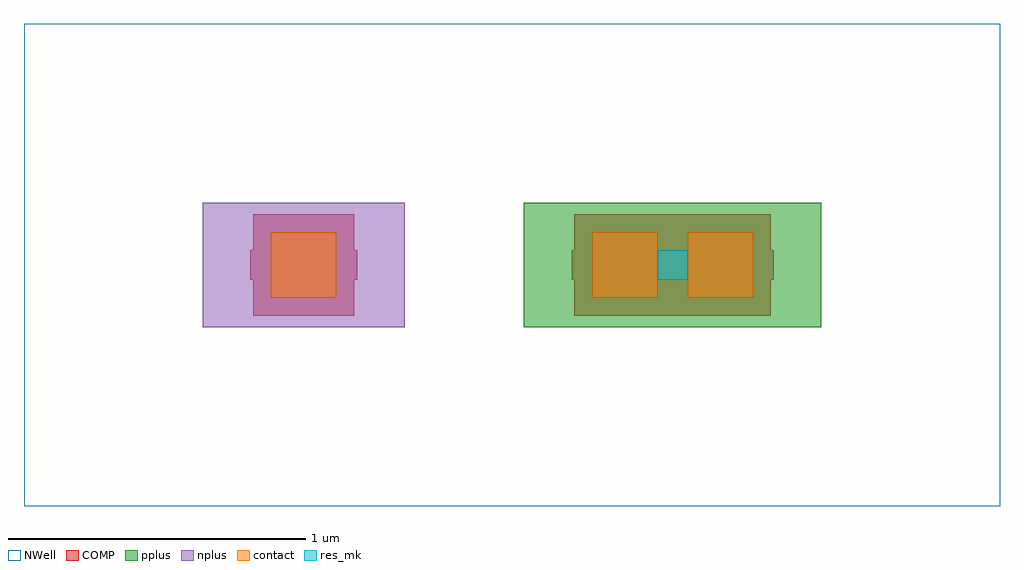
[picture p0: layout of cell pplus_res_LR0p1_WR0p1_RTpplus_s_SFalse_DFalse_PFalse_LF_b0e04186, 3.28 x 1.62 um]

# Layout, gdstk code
import gdstk
lib = gdstk.Library(unit=1e-6, precision=1e-09)
def R(c, l, rs):  # rectangles x0, y0, x1, y1
    for r in rs: c.add(gdstk.rectangle(r[:2], r[2:], *l))
NWell = (21, 0)
COMP = (22, 0)
pplus = (31, 0)
nplus = (32, 0)
contact = (33, 0)
res_mk = (110, 5)

rectangle_gdsfactorypcom = lib.new_cell('rectangle_gdsfactorypcomponentspshapesprectangle_S0p1_0_9a16bc71')
R(rectangle_gdsfactorypcom, res_mk, [(0,0,0.1,0.1)])

c_rectangle_gdsfactorypcom = lib.new_cell('rectangle_gdsfactorypcomponentspshapesprectangle_S0p679_5ee39707')
R(c_rectangle_gdsfactorypcom, COMP, [(0,0,0.68,0.1)])

c_rectangle_gdsfactorypcom_ = lib.new_cell('rectangle_gdsfactorypcomponentspshapesprectangle_S0p22__bfea7709')
R(c_rectangle_gdsfactorypcom_, contact, [(0,0,0.22,0.22)])

via_generator_xrm0p29_0p = lib.new_cell('via_generator_XRm0p29_0p07_YR0_0p1_VS0p22_0p22_VLcontac_2a18fe85')
via_generator_xrm0p29_0p.add(gdstk.Reference(c_rectangle_gdsfactorypcom_, (-0.22,-0.06)))

c_rectangle_gdsfactorypcom__ = lib.new_cell('rectangle_gdsfactorypcomponentspshapesprectangle_S0p339_7cf635e5')
R(c_rectangle_gdsfactorypcom__, COMP, [(0,0,0.34,0.34)])

via_stack_xrm0p29_0p07_y = lib.new_cell('via_stack_XRm0p29_0p07_YR0_0p1_ML1_CS0p22_0p22_CE0p07_M_2166a762')
via_stack_xrm0p29_0p07_y.add(gdstk.Reference(via_generator_xrm0p29_0p, (0,0)))
via_stack_xrm0p29_0p07_y.add(gdstk.Reference(c_rectangle_gdsfactorypcom__, (-0.28,-0.12)))

c_rectangle_gdsfactorypcom___ = lib.new_cell('rectangle_gdsfactorypcomponentspshapesprectangle_S1_0p4_b663a014')
R(c_rectangle_gdsfactorypcom___, pplus, [(0,0,1,0.42)])

c_rectangle_gdsfactorypcom____ = lib.new_cell('rectangle_gdsfactorypcomponentspshapesprectangle_S0p36__b404f8e0')
R(c_rectangle_gdsfactorypcom____, COMP, [(0,0,0.36,0.1)])

via_generator_xrm1p37_m1 = lib.new_cell('via_generator_XRm1p37_m1p01_YR0_0p1_VS0p22_0p22_VLconta_4c601b03')
via_generator_xrm1p37_m1.add(gdstk.Reference(c_rectangle_gdsfactorypcom_, (-1.3,-0.06)))

via_stack_xrm1p37_m1p01_ = lib.new_cell('via_stack_XRm1p37_m1p01_YR0_0p1_ML1_CS0p22_0p22_CE0p07__e91dd2ea')
via_stack_xrm1p37_m1p01_.add(gdstk.Reference(via_generator_xrm1p37_m1, (0,0)))
via_stack_xrm1p37_m1p01_.add(gdstk.Reference(c_rectangle_gdsfactorypcom__, (-1.36,-0.12)))

c_rectangle_gdsfactorypcom_____ = lib.new_cell('rectangle_gdsfactorypcomponentspshapesprectangle_S0p680_740ef7ae')
R(c_rectangle_gdsfactorypcom_____, nplus, [(0,0,0.68,0.42)])

plus_res_inst_lr0p1_wr0p = lib.new_cell('plus_res_inst_LR0p1_WR0p1_RTpplus_s_S1_CRE0p29_CE0p07_C_12ab2f75')
plus_res_inst_lr0p1_wr0p.add(gdstk.Reference(rectangle_gdsfactorypcom, (0,0)))
plus_res_inst_lr0p1_wr0p.add(gdstk.Reference(c_rectangle_gdsfactorypcom, (-0.29,0)))
r = gdstk.Reference(via_stack_xrm0p29_0p07_y, (0,0)); r.repetition = gdstk.Repetition(2, 1, v1=(0.32,0), v2=(0,0)); plus_res_inst_lr0p1_wr0p.add(r)
plus_res_inst_lr0p1_wr0p.add(gdstk.Reference(c_rectangle_gdsfactorypcom___, (-0.45,-0.16)))
plus_res_inst_lr0p1_wr0p.add(gdstk.Reference(c_rectangle_gdsfactorypcom____, (-1.37,0)))
plus_res_inst_lr0p1_wr0p.add(gdstk.Reference(via_stack_xrm1p37_m1p01_, (0,0)))
plus_res_inst_lr0p1_wr0p.add(gdstk.Reference(c_rectangle_gdsfactorypcom_____, (-1.53,-0.16)))

c_rectangle_gdsfactorypcom______ = lib.new_cell('rectangle_gdsfactorypcomponentspshapesprectangle_S3p280_3c1e7335')
R(c_rectangle_gdsfactorypcom______, NWell, [(0,0,3.28,1.62)])

pplus_res_lr0p1_wr0p1_rt = lib.new_cell('pplus_res_LR0p1_WR0p1_RTpplus_s_SFalse_DFalse_PFalse_LF_b0e04186')
pplus_res_lr0p1_wr0p1_rt.add(gdstk.Reference(plus_res_inst_lr0p1_wr0p, (0,0)))
pplus_res_lr0p1_wr0p1_rt.add(gdstk.Reference(c_rectangle_gdsfactorypcom______, (-2.13,-0.76)))

lib.write_gds('pplus_res_LR0p1_WR0p1_RTpplus_s_SFalse_DFalse_PFalse_LF_b0e04186.gds')
